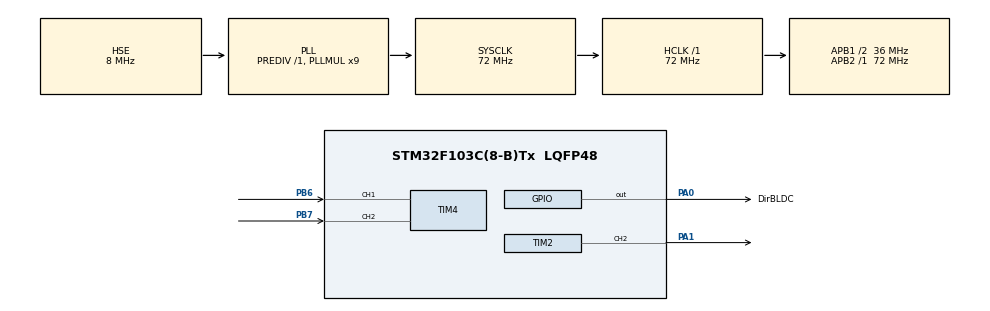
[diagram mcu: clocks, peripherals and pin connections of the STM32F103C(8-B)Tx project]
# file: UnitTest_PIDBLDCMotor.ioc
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FREERTOS.Tasks01=CalPIDBLDC,0,128,StartCalPIDBLDC,Default,NULL,Dynamic,NULL,NULL
Mcu.Family=STM32F1
Mcu.Name=STM32F103C(8-B)Tx
Mcu.Package=LQFP48
NVIC.PriorityGroup=NVIC_PRIORITYGROUP_4
NVIC.TIM4_IRQn=true\:5\:0\:false\:false\:true\:true\:true\:true\:true
PA0-WKUP.GPIO_Label=DirBLDC
PA0-WKUP.Signal=GPIO_Output
PA1.Signal=S_TIM2_CH2
PA13.Mode=Serial_Wire
PA13.Signal=SYS_JTMS-SWDIO
PA14.Mode=Serial_Wire
PA14.Signal=SYS_JTCK-SWCLK
PB6.Signal=S_TIM4_CH1
PB7.Signal=S_TIM4_CH2
PD0-OSC_IN.Mode=HSE-External-Oscillator
PD0-OSC_IN.Signal=RCC_OSC_IN
PD1-OSC_OUT.Mode=HSE-External-Oscillator
PD1-OSC_OUT.Signal=RCC_OSC_OUT
ProjectManager.HeapSize=0x200
ProjectManager.StackSize=0x400
ProjectManager.TargetToolchain=STM32CubeIDE
RCC.AHBFreq_Value=72000000
RCC.APB1CLKDivider=RCC_HCLK_DIV2
RCC.APB1Freq_Value=36000000
RCC.APB1TimFreq_Value=72000000
RCC.APB2Freq_Value=72000000
RCC.APB2TimFreq_Value=72000000
RCC.HCLKFreq_Value=72000000
RCC.PLLMUL=RCC_PLL_MUL9
RCC.PLLSourceVirtual=RCC_PLLSOURCE_HSE
RCC.SYSCLKFreq_VALUE=72000000
RCC.SYSCLKSource=RCC_SYSCLKSOURCE_PLLCLK
RCC.USBFreq_Value=72000000
SH.S_TIM2_CH2.0=TIM2_CH2,PWM Generation2 CH2
SH.S_TIM4_CH1.0=TIM4_CH1,Encoder_Interface
SH.S_TIM4_CH2.0=TIM4_CH2,Encoder_Interface
TIM2.Channel-PWM\ Generation2\ CH2=TIM_CHANNEL_2
TIM2.Period=999
TIM2.Prescaler=6
TIM4.EncoderMode=TIM_ENCODERMODE_TI12
VP_FREERTOS_VS_CMSIS_V1.Mode=CMSIS_V1
VP_TIM2_VS_ClockSourceINT.Mode=Internal
board=custom

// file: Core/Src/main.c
/* USER CODE BEGIN Header */
/**
  ******************************************************************************
  * @file           : main.c
  * @brief          : Main program body
  ******************************************************************************
  * @attention
  *
  * Copyright (c) 2023 STMicroelectronics.
  * All rights reserved.
  *
  * This software is licensed under terms that can be found in the LICENSE file
  * in the root directory of this software component.
  * If no LICENSE file comes with this software, it is provided AS-IS.
  *
  ******************************************************************************
  */
/* USER CODE END Header */
#include "main.h"
#include "cmsis_os.h"

/* USER CODE BEGIN Includes */
#include "Encoder.h"
#include "DriveMotor.h"
#include "PID.h"
#include "stdlib.h"
/* USER CODE END Includes */

/* USER CODE BEGIN PM */
/*-----------------------------Begin:PID BLDC Macro---------------------------*/
#define BLDCPropotion				0.2
#define BLDCIntergral				10
#define BLDCDerivative				0
#define BLDCAlpha					0
#define BLDCDeltaT					0.001
#define BLDCClockWise				1
#define BLDCCounterClockWise		0
#define BLDCIntergralAboveLimit		1000
#define BLDCIntergralBelowLimit	   -1000
#define BLDCSumAboveLimit			1000
#define BLDCSumBelowLimit		   -1000
#define BLDCEncoderPerRound			200
#define BLDCGearRatio 				2.5

//double BLDCPropotion;
//double BLDCIntergral;
//double BLDCDerivative;
/*-----------------------------End:PID BLDC Macro-----------------------------*/
/* USER CODE END PM */

TIM_HandleTypeDef htim2;
TIM_HandleTypeDef htim4;

osThreadId CalPIDBLDCHandle;
/* USER CODE BEGIN PV */
EncoderRead ENC_BLDC;

MotorDrive BLDC;

PID_Param PID_BLDC;

double SpeedTestBLDC;
/* USER CODE END PV */

void SystemClock_Config(void);
static void MX_GPIO_Init(void);
static void MX_TIM2_Init(void);
static void MX_TIM4_Init(void);
void StartCalPIDBLDC(void const * argument);

/* USER CODE BEGIN 0 */
void PIDBLDC(void){
	SpeedReadOnly(&ENC_BLDC);

	Pid_Cal(&PID_BLDC, SpeedTestBLDC, ENC_BLDC.vel_Real);

	BLDC_Drive_RedBoard(&BLDC, &htim2, PID_BLDC.u, TIM_CHANNEL_2);
}
/* USER CODE END 0 */

int main(void)
{

  /* MCU Configuration--------------------------------------------------------*/

  /* Reset of all peripherals, Initializes the Flash interface and the Systick. */
  HAL_Init();

  /* Configure the system clock */
  SystemClock_Config();

  /* Initialize all configured peripherals */
  MX_GPIO_Init();
  MX_TIM2_Init();
  MX_TIM4_Init();
  /* USER CODE BEGIN 2 */
  HAL_TIM_PWM_Start(&htim2, TIM_CHANNEL_2);
  HAL_TIM_Encoder_Start_IT(&htim4, TIM_CHANNEL_ALL);

  EncoderSetting(&ENC_BLDC, &htim4, BLDCEncoderPerRound*BLDCGearRatio, BLDCDeltaT);

  Pid_SetParam(&PID_BLDC, BLDCPropotion, BLDCIntergral, BLDCDerivative, BLDCAlpha, BLDCDeltaT, BLDCIntergralAboveLimit, BLDCIntergralBelowLimit, BLDCSumAboveLimit, BLDCSumBelowLimit);
  /* USER CODE END 2 */

  /* Create the thread(s) */
  /* definition and creation of CalPIDBLDC */
  osThreadDef(CalPIDBLDC, StartCalPIDBLDC, osPriorityNormal, 0, 128);
  CalPIDBLDCHandle = osThreadCreate(osThread(CalPIDBLDC), NULL);

  /* Start scheduler */
  osKernelStart();

  /* We should never get here as control is now taken by the scheduler */
  /* Infinite loop */
  while (1)
  {

  }
}

void SystemClock_Config(void)
{
  RCC_OscInitTypeDef RCC_OscInitStruct = {0};
  RCC_ClkInitTypeDef RCC_ClkInitStruct = {0};

  /** Initializes the RCC Oscillators according to the specified parameters
  * in the RCC_OscInitTypeDef structure.
  */
  RCC_OscInitStruct.OscillatorType = RCC_OSCILLATORTYPE_HSE;
  RCC_OscInitStruct.HSEState = RCC_HSE_ON;
  RCC_OscInitStruct.HSEPredivValue = RCC_HSE_PREDIV_DIV1;
  RCC_OscInitStruct.HSIState = RCC_HSI_ON;
  RCC_OscInitStruct.PLL.PLLState = RCC_PLL_ON;
  RCC_OscInitStruct.PLL.PLLSource = RCC_PLLSOURCE_HSE;
  RCC_OscInitStruct.PLL.PLLMUL = RCC_PLL_MUL9;
  if (HAL_RCC_OscConfig(&RCC_OscInitStruct) != HAL_OK)
  {
    Error_Handler();
  }

  /** Initializes the CPU, AHB and APB buses clocks
  */
  RCC_ClkInitStruct.ClockType = RCC_CLOCKTYPE_HCLK|RCC_CLOCKTYPE_SYSCLK
                              |RCC_CLOCKTYPE_PCLK1|RCC_CLOCKTYPE_PCLK2;
  RCC_ClkInitStruct.SYSCLKSource = RCC_SYSCLKSOURCE_PLLCLK;
  RCC_ClkInitStruct.AHBCLKDivider = RCC_SYSCLK_DIV1;
  RCC_ClkInitStruct.APB1CLKDivider = RCC_HCLK_DIV2;
  RCC_ClkInitStruct.APB2CLKDivider = RCC_HCLK_DIV1;

  if (HAL_RCC_ClockConfig(&RCC_ClkInitStruct, FLASH_LATENCY_2) != HAL_OK)
  {
    Error_Handler();
  }
}

static void MX_TIM2_Init(void)
{

  TIM_ClockConfigTypeDef sClockSourceConfig = {0};
  TIM_MasterConfigTypeDef sMasterConfig = {0};
  TIM_OC_InitTypeDef sConfigOC = {0};

  htim2.Instance = TIM2;
  htim2.Init.Prescaler = 6;
  htim2.Init.CounterMode = TIM_COUNTERMODE_UP;
  htim2.Init.Period = 999;
  htim2.Init.ClockDivision = TIM_CLOCKDIVISION_DIV1;
  htim2.Init.AutoReloadPreload = TIM_AUTORELOAD_PRELOAD_DISABLE;
  if (HAL_TIM_Base_Init(&htim2) != HAL_OK)
  {
    Error_Handler();
  }
  sClockSourceConfig.ClockSource = TIM_CLOCKSOURCE_INTERNAL;
  if (HAL_TIM_ConfigClockSource(&htim2, &sClockSourceConfig) != HAL_OK)
  {
    Error_Handler();
  }
  if (HAL_TIM_PWM_Init(&htim2) != HAL_OK)
  {
    Error_Handler();
  }
  sMasterConfig.MasterOutputTrigger = TIM_TRGO_RESET;
  sMasterConfig.MasterSlaveMode = TIM_MASTERSLAVEMODE_DISABLE;
  if (HAL_TIMEx_MasterConfigSynchronization(&htim2, &sMasterConfig) != HAL_OK)
  {
    Error_Handler();
  }
  sConfigOC.OCMode = TIM_OCMODE_PWM1;
  sConfigOC.Pulse = 0;
  sConfigOC.OCPolarity = TIM_OCPOLARITY_HIGH;
  sConfigOC.OCFastMode = TIM_OCFAST_DISABLE;
  if (HAL_TIM_PWM_ConfigChannel(&htim2, &sConfigOC, TIM_CHANNEL_2) != HAL_OK)
  {
    Error_Handler();
  }
  HAL_TIM_MspPostInit(&htim2);

}

static void MX_TIM4_Init(void)
{

  TIM_Encoder_InitTypeDef sConfig = {0};
  TIM_MasterConfigTypeDef sMasterConfig = {0};

  htim4.Instance = TIM4;
  htim4.Init.Prescaler = 0;
  htim4.Init.CounterMode = TIM_COUNTERMODE_UP;
  htim4.Init.Period = 65535;
  htim4.Init.ClockDivision = TIM_CLOCKDIVISION_DIV1;
  htim4.Init.AutoReloadPreload = TIM_AUTORELOAD_PRELOAD_DISABLE;
  sConfig.EncoderMode = TIM_ENCODERMODE_TI12;
  sConfig.IC1Polarity = TIM_ICPOLARITY_RISING;
  sConfig.IC1Selection = TIM_ICSELECTION_DIRECTTI;
  sConfig.IC1Prescaler = TIM_ICPSC_DIV1;
  sConfig.IC1Filter = 0;
  sConfig.IC2Polarity = TIM_ICPOLARITY_RISING;
  sConfig.IC2Selection = TIM_ICSELECTION_DIRECTTI;
  sConfig.IC2Prescaler = TIM_ICPSC_DIV1;
  sConfig.IC2Filter = 0;
  if (HAL_TIM_Encoder_Init(&htim4, &sConfig) != HAL_OK)
  {
    Error_Handler();
  }
  sMasterConfig.MasterOutputTrigger = TIM_TRGO_RESET;
  sMasterConfig.MasterSlaveMode = TIM_MASTERSLAVEMODE_DISABLE;
  if (HAL_TIMEx_MasterConfigSynchronization(&htim4, &sMasterConfig) != HAL_OK)
  {
    Error_Handler();
  }

}

static void MX_GPIO_Init(void)
{
  GPIO_InitTypeDef GPIO_InitStruct = {0};

  /* GPIO Ports Clock Enable */
  __HAL_RCC_GPIOD_CLK_ENABLE();
  __HAL_RCC_GPIOA_CLK_ENABLE();
  __HAL_RCC_GPIOB_CLK_ENABLE();

  /*Configure GPIO pin Output Level */
  HAL_GPIO_WritePin(DirBLDC_GPIO_Port, DirBLDC_Pin, GPIO_PIN_RESET);

  /*Configure GPIO pin : DirBLDC_Pin */
  GPIO_InitStruct.Pin = DirBLDC_Pin;
  GPIO_InitStruct.Mode = GPIO_MODE_OUTPUT_PP;
  GPIO_InitStruct.Pull = GPIO_NOPULL;
  GPIO_InitStruct.Speed = GPIO_SPEED_FREQ_LOW;
  HAL_GPIO_Init(DirBLDC_GPIO_Port, &GPIO_InitStruct);

}

void StartCalPIDBLDC(void const * argument)
{
  /* USER CODE BEGIN 5 */
  /* Infinite loop */
  for(;;)
  {
//	SpeedReadNonReset(&ENC_BLDC);
//	BLDC_Drive_RedBoard(&BLDC, &htim2, SpeedTestBLDC, TIM_CHANNEL_2);
	PIDBLDC();
    osDelay(1);
  }
  /* USER CODE END 5 */
}

void HAL_TIM_PeriodElapsedCallback(TIM_HandleTypeDef *htim)
{
  if (htim->Instance == TIM1) {
    HAL_IncTick();
  }
}

void Error_Handler(void)
{
  __disable_irq();
  while (1)
  {
  }
}
